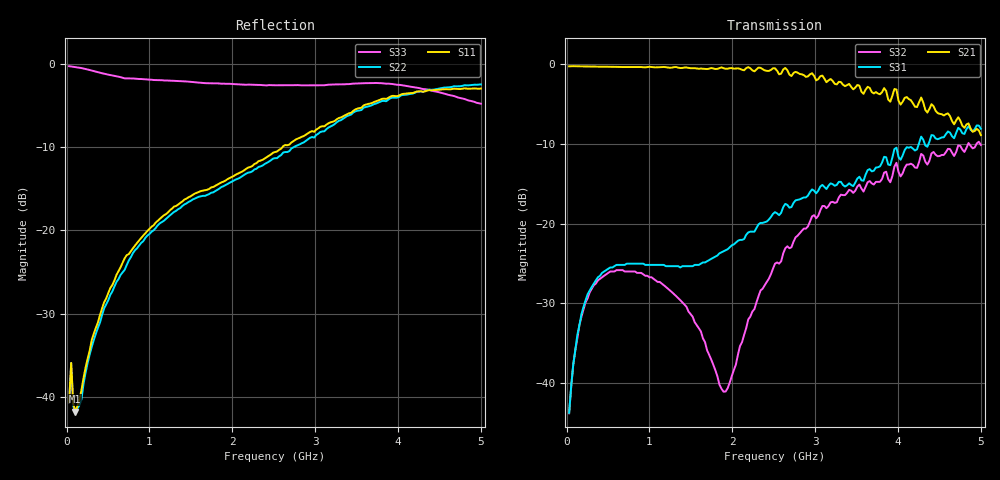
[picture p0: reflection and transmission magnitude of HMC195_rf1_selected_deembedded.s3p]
!Hittite Microwave Corporation
!12 Elizabeth Drive
!Chelmsford, MA 01824
!Tel: 978-250-3343
!Fax: 978-250-3373
!Device: HMC195, DC-2.5 GHz GaAS MMIC T/R switch in SOT26 package
!Misc: Port1 = RFCom, Port2 = RF1, Port3=RF2, RF1 selected
# MHZ S MA R 50
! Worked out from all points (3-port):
!   201 points, 30 MHz to 5 GHz, reference 50 ohm
!   strongest paths, dB at 30 MHz, 1.272 GHz, 2.515 GHz, 3.757 GHz, 5 GHz:
!     S21: -0.2, -0.4, -0.5, -3.6, -8.9
!     S31: -43.8, -25.4, -18.6, -12.9, -8.1
!     S32: -43.8, -28.6, -25.0, -14.8, -10.1
!   lowest |S11| = -41.7 dB at 104.5 MHz (marker M1), VSWR 1.02, Z = 50 - j0.817 ohm
!   |S11| at or under -10 dB: start of sweep to 2.606 GHz
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30  0.009256 -100.1  0.974 0.4  0.006532 43.7
    0.974 0.3  0.009219 -98.7  0.006388 44.7
    0.00647 44.3  0.006421 45.3  0.966 -8.5
54.85  0.016 -93.4  0.975 0.5  0.00959 59.4
       0.975 0.4  0.016 -92.0  0.009358 58.9
       0.009513 59.9  0.009371 59.2  0.962 -15.0
104.55  0.008178 -92.1  0.975 -0.3  0.016 66.7
        0.975 -0.4  0.007978 -88.8  0.016 63.5
        0.016 67.1  0.016 63.8  0.955 -27.9
353.05  0.026 -81.5  0.969 -0.7  0.044 55.8
        0.97 -0.7  0.024 -82.0  0.042 46.6
        0.044 56.1  0.042 46.9  0.896 -83.9
899.75  0.09 -104.5  0.963 -0.8  0.055 48.5
        0.964 -0.8  0.084 -104.6  0.048 22.8
        0.056 49.6  0.049 23.8  0.809 -151.1
1421.6  0.153 -127.6  0.96 -0.9  0.055 69.6
        0.957 -1.0  0.143 -124.5  0.031 19.9
        0.054 70.5  0.031 20.7  0.783 175.2
1893.75  0.196 -150.4  0.945 -2.1  0.065 98.5
         0.948 -2.0  0.184 -139.6  0.008439 82.3
         0.067 98.6  0.008788 82.6  0.759 151.9
2515  0.295 177.1  0.94 -5.6  0.115 115.3
      0.946 -6.5  0.271 -164.2  0.054 158.0
      0.118 118.3  0.056 161.5  0.742 123.4
3906.6  0.634 133.9  0.587 -10.8  0.258 139.2
        0.584 -9.9  0.62 146.5  0.204 151.9
        0.233 135.4  0.182 146.7  0.757 90.4
5000  0.709 101.8  0.374 -9.5  0.413 123.9
      0.36 -11.6  0.751 123.5  0.319 135.0
      0.395 121.9  0.312 132.3  0.575 74.7
